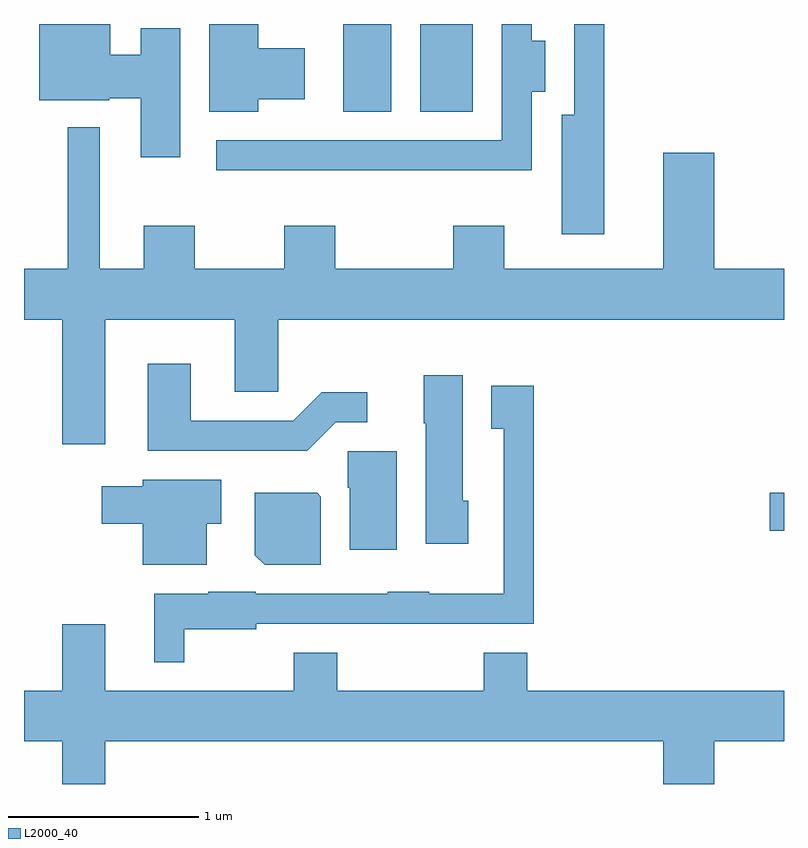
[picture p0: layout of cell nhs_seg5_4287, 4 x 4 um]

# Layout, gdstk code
import gdstk
lib = gdstk.Library(unit=1e-6, precision=1e-09)
def R(c, l, rs):  # rectangles x0, y0, x1, y1
    for r in rs: c.add(gdstk.rectangle(r[:2], r[2:], *l))
def P(c, l, *ps):  # polygons
    for p in ps: c.add(gdstk.Polygon(p, *l))
L2000_40 = (2000, 40)

nhs_seg5_4287 = lib.new_cell('nhs_seg5_4287')
R(nhs_seg5_4287, L2000_40, [(315.536,1513.406,315.611,1513.604), (313.291,1515.611,313.544,1516.072), (313.696,1515.611,313.974,1516.072)])
P(nhs_seg5_4287, L2000_40, [(312.434,1516.049),(312.226,1516.049),(312.226,1515.909),(312.064,1515.909),(312.064,1516.072),(311.691,1516.072),(311.691,1515.671),(312.06,1515.671),(312.06,1515.681),(312.226,1515.681),(312.226,1515.371),(312.434,1515.371)],
  [(312.844,1515.676),(313.089,1515.676),(313.089,1515.944),(312.844,1515.944),(312.844,1516.072),(312.586,1516.072),(312.586,1515.611),(312.844,1515.611)],
  [(314.284,1515.716),(314.354,1515.716),(314.354,1515.984),(314.284,1515.984),(314.284,1516.072),(314.126,1516.072),(314.126,1515.459),(312.623,1515.459),(312.623,1515.301),(314.284,1515.301)],
  [(314.664,1516.072),(314.506,1516.072),(314.506,1515.594),(314.441,1515.594),(314.441,1514.966),(314.664,1514.966)],
  [(312.721,1514.136),(312.949,1514.136),(312.949,1514.516),(315.611,1514.516),(315.611,1514.784),(315.244,1514.784),(315.244,1515.394),(314.976,1515.394),(314.976,1514.784),(314.139,1514.784),(314.139,1515.009),(313.871,1515.009),(313.871,1514.784),(313.249,1514.784),(313.249,1515.009),(312.981,1515.009),(312.981,1514.784),(312.509,1514.784),(312.509,1515.009),(312.241,1515.009),(312.241,1514.784),(312.009,1514.784),(312.009,1515.528),(311.841,1515.528),(311.841,1514.784),(311.611,1514.784),(311.611,1514.516),(311.811,1514.516),(311.811,1513.861),(312.039,1513.861),(312.039,1514.516),(312.721,1514.516)],
  [(313.252,1513.976),(313.418,1513.976),(313.418,1514.134),(313.179,1514.134),(313.029,1513.984),(312.489,1513.984),(312.489,1514.284),(312.261,1514.284),(312.261,1513.826),(313.102,1513.826)],
  [(313.949,1513.564),(313.919,1513.564),(313.919,1514.224),(313.716,1514.224),(313.716,1513.97),(313.726,1513.97),(313.726,1513.336),(313.949,1513.336)],
  [(312.454,1512.886),(312.834,1512.886),(312.834,1512.916),(314.294,1512.916),(314.294,1514.169),(314.071,1514.169),(314.071,1513.941),(314.136,1513.941),(314.136,1513.074),(313.745,1513.074),(313.745,1513.084),(313.525,1513.084),(313.525,1513.074),(312.83,1513.074),(312.83,1513.084),(312.58,1513.084),(312.58,1513.074),(312.296,1513.074),(312.296,1512.713),(312.454,1512.713)],
  [(313.574,1513.824),(313.316,1513.824),(313.316,1513.63),(313.326,1513.63),(313.326,1513.306),(313.574,1513.306)],
  [(312.574,1513.441),(312.649,1513.441),(312.649,1513.674),(312.236,1513.674),(312.236,1513.639),(312.021,1513.639),(312.021,1513.441),(312.236,1513.441),(312.236,1513.226),(312.574,1513.226)],
  [(313.174,1513.584),(313.154,1513.604),(312.826,1513.604),(312.826,1513.277),(312.877,1513.226),(313.174,1513.226)],
  [(312.039,1512.296),(314.976,1512.296),(314.976,1512.072),(315.244,1512.072),(315.244,1512.296),(315.611,1512.296),(315.611,1512.564),(314.259,1512.564),(314.259,1512.764),(314.031,1512.764),(314.031,1512.564),(313.259,1512.564),(313.259,1512.764),(313.031,1512.764),(313.031,1512.564),(312.039,1512.564),(312.039,1512.914),(311.811,1512.914),(311.811,1512.564),(311.611,1512.564),(311.611,1512.296),(311.811,1512.296),(311.811,1512.072),(312.039,1512.072)])

lib.write_gds('nhs_seg5_4287.gds')
